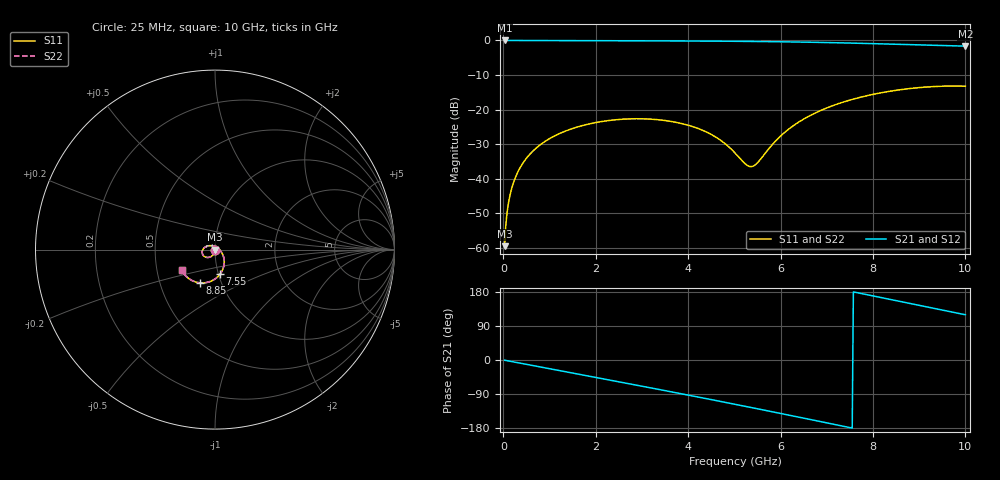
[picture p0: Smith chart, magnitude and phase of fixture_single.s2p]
! Created Wed Feb  5 17:11:42 2025
! List of port names and net name(s): example Port n = <port_name> <net_name1> <net_name2> ...
! Port 1 = P1 P1
! Port 2 = P2 P1
# hz S ma R 50
! 2 Port Network Data from data block
! freq  magS11  angS11  magS21  angS21  magS12  angS12  magS22  angS22
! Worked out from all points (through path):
!   400 points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, 25 MHz to 10 GHz, reference 50 ohm
!   highest |S21| = 0.00 dB at 25 MHz (marker M1); lowest = -1.6 dB at 10 GHz (marker M2)
!   group delay of S21, straight-line fit = 67 ps
!   lowest |S11| = -59.5 dB at 25 MHz (marker M3), VSWR 1.00, Z = 50 - j0.107 ohm
!   |S11| at or under -10 dB: start of sweep to end of sweep
!   |S22| runs from -59.5 to -13.2 dB; largest |S21 - S12| = 0
!   S11 on the Smith chart (normalised r, x): 25 MHz: 1.00, -0.00; 7.55 GHz: 1.02, -0.29; 8.85 GHz: 0.79, -0.31; 10 GHz: 0.67, -0.16
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2.5e7  0.001065 -90.1  0.9999 -0.6  0.9999 -0.6  0.001065 -90.1
5e7  0.002092 -91.5  0.9998 -1.2  0.9998 -1.2  0.002092 -91.5
7.5e7  0.003111 -92.4  0.9997 -1.7  0.9997 -1.7  0.003111 -92.4
1.25e8  0.005132 -93.9  0.9996 -2.9  0.9996 -2.9  0.005132 -93.9
2.25e8  0.009132 -96.6  0.9993 -5.2  0.9993 -5.2  0.009132 -96.6
4e8  0.01606 -100.9  0.9988 -9.2  0.9988 -9.2  0.01606 -101.0
6.25e8  0.02474 -106.3  0.9981 -14.4  0.9981 -14.4  0.02474 -106.3
9e8  0.03478 -112.8  0.9972 -20.7  0.9972 -20.7  0.03478 -112.8
1.7e9  0.05867 -131.6  0.9942 -39.1  0.9942 -39.1  0.05867 -131.7
2.5e9  0.07211 -150.9  0.9906 -57.6  0.9906 -57.6  0.07211 -150.9
3.35e9  0.07152 -172.5  0.9863 -77.3  0.9863 -77.3  0.07153 -172.6
4.325e9  0.04987 158.1  0.9798 -100.4  0.9798 -100.4  0.04989 157.9
4.7e9  0.03614 141.8  0.9764 -109.3  0.9764 -109.3  0.03618 141.6
5.025e9  0.02319 117.9  0.9728 -117.2  0.9728 -117.2  0.02326 117.7
5.275e9  0.01571 79.0  0.9696 -123.2  0.9696 -123.2  0.01581 78.9
5.425e9  0.01552 44.2  0.9675 -126.9  0.9675 -126.9  0.01561 44.2
6.05e9  0.04461 -27.3  0.9565 -142.3  0.9565 -142.3  0.04462 -27.3
6.675e9  0.08463 -52.5  0.9419 -157.8  0.9419 -157.8  0.08462 -52.6
7.55e9  0.1406 -78.7  0.9156 -179.7  0.9156 -179.7  0.1405 -78.9
8.35e9  0.1838 -100.8  0.8871 160.3  0.8871 160.3  0.1837 -101.0
8.85e9  0.2038 -114.6  0.8686 147.9  0.8686 147.9  0.2036 -114.7
1e10  0.2177 -148.0  0.8275 119.4  0.8275 119.4  0.2176 -148.2
